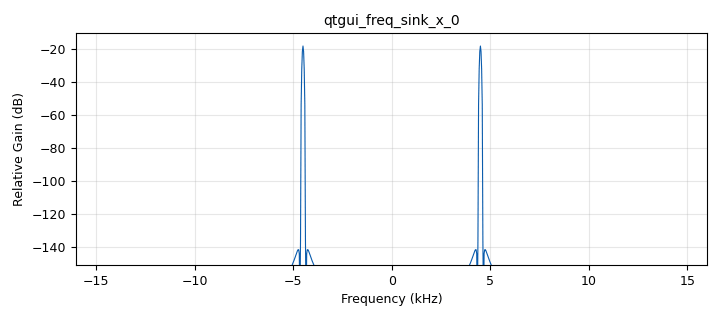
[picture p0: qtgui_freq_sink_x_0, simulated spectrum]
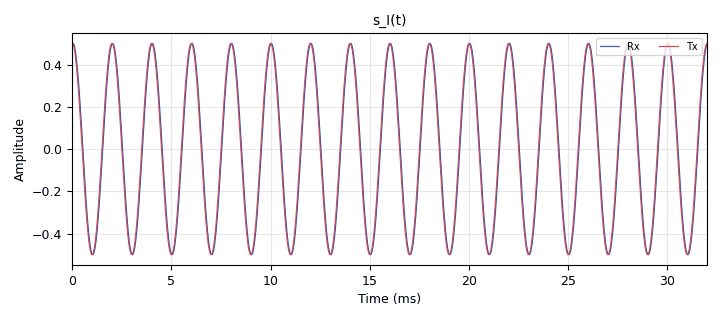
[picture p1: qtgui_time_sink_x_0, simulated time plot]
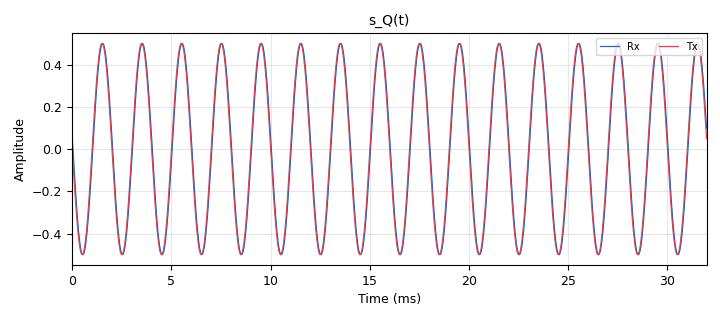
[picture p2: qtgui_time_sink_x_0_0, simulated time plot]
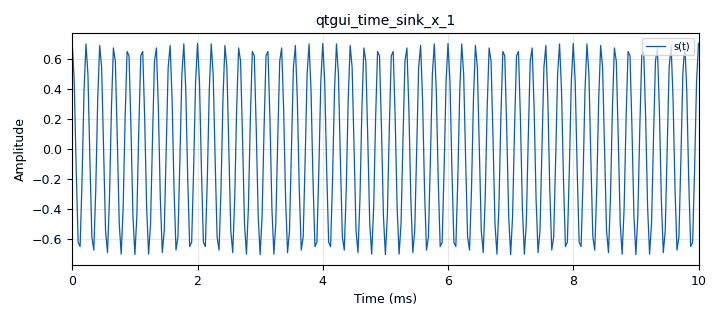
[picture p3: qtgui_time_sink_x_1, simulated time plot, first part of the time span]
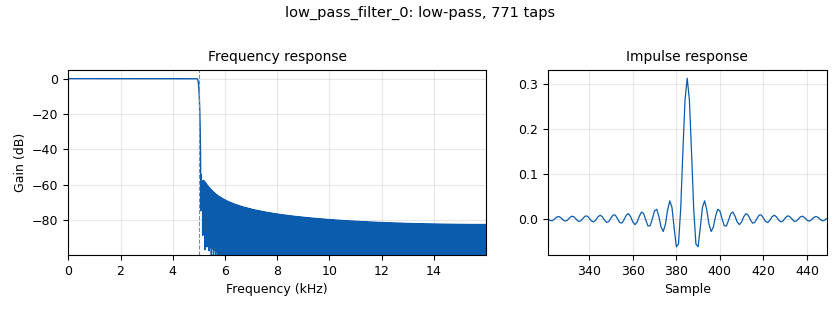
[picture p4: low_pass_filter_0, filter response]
options:
  parameters:
    author: maheswaran
    generate_options: qt_gui
    id: IQ_Modulator
    output_language: python
    title: Not titled yet
  states: {}

blocks:
- name: a
  id: variable
  parameters:
    value: '1'
  states: {}
- name: b
  id: variable
  parameters:
    value: '-1'
  states: {}
- name: c
  id: variable
  parameters:
    value: '0'
  states: {}
- name: fc
  id: variable
  parameters:
    value: 5e3
  states: {}
- name: fm
  id: variable
  parameters:
    value: '500'
  states: {}
- name: samp_rate
  id: variable
  parameters:
    value: int(32e3)
  states: {}
- name: analog_const_source_x_0_0
  id: analog_const_source_x
  parameters:
    const: '0'
    type: float
  states: {}
- name: analog_sig_source_x_0
  id: analog_sig_source_x
  parameters:
    amp: numpy.sqrt(2)
    freq: fc
    offset: '0'
    phase: '0'
    samp_rate: samp_rate
    type: complex
    waveform: analog.GR_COS_WAVE
  states: {}
- name: analog_sig_source_x_0_0
  id: analog_sig_source_x
  parameters:
    amp: a/2
    freq: fm
    offset: '0'
    phase: '0'
    samp_rate: samp_rate
    type: float
    waveform: analog.GR_COS_WAVE
  states: {}
- name: analog_sig_source_x_0_0_0
  id: analog_sig_source_x
  parameters:
    amp: b/2
    freq: fm
    offset: '0'
    phase: '0'
    samp_rate: samp_rate
    type: float
    waveform: analog.GR_SIN_WAVE
  states: {}
- name: blocks_add_const_vxx_0
  id: blocks_add_const_vxx
  parameters:
    const: c
    type: complex
  states: {}
- name: blocks_complex_to_float_0
  id: blocks_complex_to_float
  parameters: {}
  states: {}
- name: blocks_complex_to_float_1
  id: blocks_complex_to_float
  parameters: {}
  states: {}
- name: blocks_complex_to_real_0
  id: blocks_complex_to_real
  parameters: {}
  states: {}
- name: blocks_conjugate_cc_0_0
  id: blocks_conjugate_cc
  parameters: {}
  states: {}
- name: blocks_float_to_complex_0
  id: blocks_float_to_complex
  parameters: {}
  states: {}
- name: blocks_float_to_complex_0_0
  id: blocks_float_to_complex
  parameters: {}
  states: {}
- name: blocks_multiply_xx_0
  id: blocks_multiply_xx
  parameters:
    type: complex
  states: {}
- name: blocks_multiply_xx_0_0
  id: blocks_multiply_xx
  parameters:
    type: complex
  states: {}
- name: blocks_throttle2_0
  id: blocks_throttle2
  parameters:
    samples_per_second: samp_rate
    type: complex
  states: {}
- name: blocks_throttle_0
  id: blocks_throttle
  parameters:
    samples_per_second: samp_rate
    type: complex
  states: {state: disabled}
- name: import_0
  id: import
  parameters:
    imports: import numpy
  states: {}
- name: low_pass_filter_0
  id: low_pass_filter
  parameters:
    cutoff_freq: fc
    decim: '1'
    gain: '1'
    samp_rate: samp_rate
    type: fir_filter_ccf
    width: '100'
    win: window.WIN_HAMMING
  states: {}
- name: note_0
  id: note
  parameters:
    comment: |-
      Case 1:
      Unmodulated carrier - a = 0, b = 0, c = 1

      Case 2:
      Upper side band modulation - a = 1, b = 1 , c = 0

      Case 3:
      Lower side band modulation - a = 1, b = -1 , c = 0

      Case 4: 
      Amplitude modulation - a = 1, b = 0, c = 1
  states: {}
- name: qtgui_freq_sink_x_0
  id: qtgui_freq_sink_x
  parameters:
    autoscale: 'True'
    bw: samp_rate
    fc: '0'
    fftsize: '1024'
    grid: 'True'
    type: float
  states: {}
- name: qtgui_time_sink_x_0
  id: qtgui_time_sink_x
  parameters:
    autoscale: 'True'
    grid: 'True'
    label1: Rx
    label2: Tx
    name: '"s_I(t)"'
    nconnections: '2'
    size: '1024'
    srate: samp_rate
    type: float
  states: {}
- name: qtgui_time_sink_x_0_0
  id: qtgui_time_sink_x
  parameters:
    autoscale: 'True'
    grid: 'True'
    label1: Rx
    label2: Tx
    name: '"s_Q(t)"'
    nconnections: '2'
    size: '1024'
    srate: samp_rate
    type: float
  states: {}
- name: qtgui_time_sink_x_1
  id: qtgui_time_sink_x
  parameters:
    autoscale: 'True'
    grid: 'True'
    label1: s(t)
    size: '1024'
    srate: samp_rate
    type: float
  states: {}
- name: virtual_sink_0
  id: virtual_sink
  parameters:
    stream_id: s_t
  states: {}
- name: virtual_sink_1
  id: virtual_sink
  parameters:
    stream_id: s_I(t)
  states: {}
- name: virtual_sink_1_0
  id: virtual_sink
  parameters:
    stream_id: s_Q(t)
  states: {}
- name: virtual_source_0
  id: virtual_source
  parameters:
    stream_id: s_t
  states: {}
- name: virtual_source_1
  id: virtual_source
  parameters:
    stream_id: s_I(t)
  states: {}
- name: virtual_source_1_0
  id: virtual_source
  parameters:
    stream_id: s_Q(t)
  states: {}

connections:
- [analog_const_source_x_0_0, '0', blocks_float_to_complex_0_0, '1']
- [analog_sig_source_x_0, '0', blocks_conjugate_cc_0_0, '0']
- [analog_sig_source_x_0, '0', blocks_multiply_xx_0, '1']
- [analog_sig_source_x_0_0, '0', blocks_float_to_complex_0, '0']
- [analog_sig_source_x_0_0_0, '0', blocks_float_to_complex_0, '1']
- [blocks_add_const_vxx_0, '0', blocks_complex_to_float_1, '0']
- [blocks_add_const_vxx_0, '0', blocks_multiply_xx_0, '0']
- [blocks_complex_to_float_0, '0', qtgui_time_sink_x_0, '0']
- [blocks_complex_to_float_0, '1', qtgui_time_sink_x_0_0, '0']
- [blocks_complex_to_float_1, '0', virtual_sink_1, '0']
- [blocks_complex_to_float_1, '1', virtual_sink_1_0, '0']
- [blocks_complex_to_real_0, '0', qtgui_freq_sink_x_0, '0']
- [blocks_complex_to_real_0, '0', qtgui_time_sink_x_1, '0']
- [blocks_complex_to_real_0, '0', virtual_sink_0, '0']
- [blocks_conjugate_cc_0_0, '0', blocks_multiply_xx_0_0, '0']
- [blocks_float_to_complex_0, '0', blocks_add_const_vxx_0, '0']
- [blocks_float_to_complex_0_0, '0', blocks_multiply_xx_0_0, '1']
- [blocks_multiply_xx_0, '0', blocks_throttle2_0, '0']
- [blocks_multiply_xx_0, '0', blocks_throttle_0, '0']
- [blocks_multiply_xx_0_0, '0', low_pass_filter_0, '0']
- [blocks_throttle2_0, '0', blocks_complex_to_real_0, '0']
- [blocks_throttle_0, '0', blocks_complex_to_real_0, '0']
- [low_pass_filter_0, '0', blocks_complex_to_float_0, '0']
- [virtual_source_0, '0', blocks_float_to_complex_0_0, '0']
- [virtual_source_1, '0', qtgui_time_sink_x_0, '1']
- [virtual_source_1_0, '0', qtgui_time_sink_x_0_0, '1']

metadata:
  file_format: 1
  grc_version: 3.10.12.0
